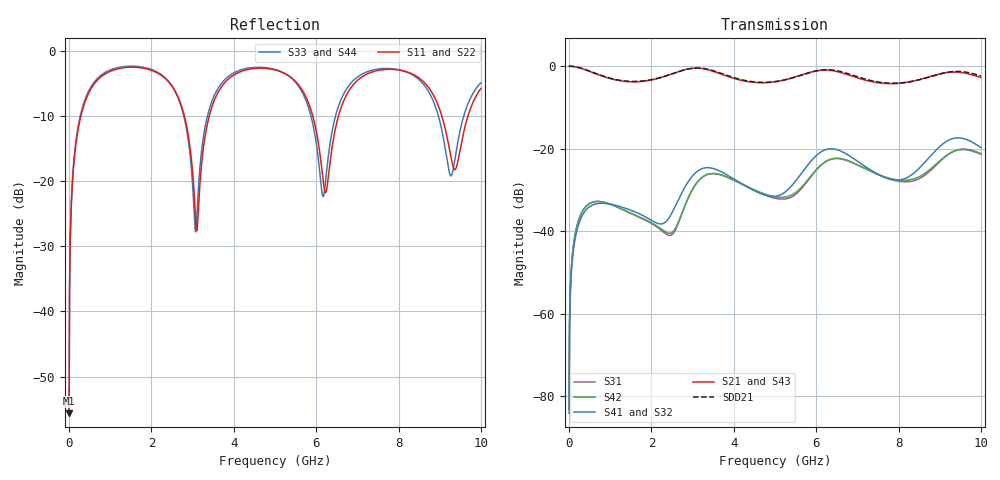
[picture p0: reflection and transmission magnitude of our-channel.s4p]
! Created with skrf 2.0.1 (http://scikit-rf.org).
# Hz S RI R 50.0
!freq ReS11 ImS11 ReS12 ImS12 ReS13 ImS13
! ReS14 ImS14
! ReS21 ImS21 ReS22 ImS22 ReS23 ImS23
! ReS24 ImS24
! ReS31 ImS31 ReS32 ImS32 ReS33 ImS33
! ReS34 ImS34
! ReS41 ImS41 ReS42 ImS42 ReS43 ImS43
! ReS44 ImS44
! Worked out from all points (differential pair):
!   1001 points, 1 MHz to 10 GHz, reference 50 ohm
!   strongest paths, dB at 1 MHz, 2.501 GHz, 5 GHz, 7.5 GHz, 10 GHz:
!     S21: 0.0, -1.9, -3.8, -4.0, -2.7
!     S43: 0.0, -1.9, -3.9, -4.3, -3.1
!     S41: -84.1, -35.5, -31.5, -26.2, -19.7
!     S32: -84.1, -35.5, -31.8, -26.5, -19.9
!     S42: -83.1, -40.3, -31.6, -26.2, -21.4
!     S31: -83.1, -40.8, -32.0, -26.3, -21.2
!   taken as a pair (ports 1,3 in; 2,4 out), SDD21 dB: 0.0, -1.9, -3.7, -3.8, -2.4
!   lowest |S11| = -55.6 dB at 1 MHz (marker M1), VSWR 1.00, Z = 50.1 + j0.125 ohm
!   |S11| at or under -10 dB: 2.798 GHz to 3.404 GHz (606 MHz wide, 19.5 % of centre); 5.917 GHz to 6.543 GHz (626 MHz wide, 10 % of centre); 9.051 GHz to 9.687 GHz (636.2 MHz wide, 6.79 % of centre)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
1000000  0.00108 0.00125  0.9989 -0.00168  2.37e-06 7.01e-05  -2.33e-06 -6.25e-05
         0.9989 -0.00168  0.00108 0.00125  -2.33e-06 -6.25e-05  2.37e-06 7.01e-05
         2.37e-06 7.01e-05  -2.33e-06 -6.25e-05  0.00108 0.00131  0.9989 -0.00173
         -2.33e-06 -6.25e-05  2.37e-06 7.01e-05  0.9989 -0.00173  0.00108 0.00131
1.90981e8  0.068 0.2086  0.9276 -0.2859  0.00562 0.0101  -0.0055 -0.00868
           0.9276 -0.2859  0.0682 0.2085  -0.0055 -0.00867  0.00563 0.0101
           0.00562 0.0101  -0.0055 -0.00867  0.0732 0.2183  0.9227 -0.2938
           -0.0055 -0.00868  0.00563 0.0101  0.9227 -0.2938  0.0731 0.2183
8.90911e8  0.6005 0.2938  0.3224 -0.6573  0.0219 -0.00344  -0.0196 0.00931
           0.3224 -0.6573  0.6017 0.2912  -0.0196 0.0093  0.0219 -0.00356
           0.0219 -0.00344  -0.0196 0.0093  0.6219 0.2902  0.305 -0.6478
           -0.0196 0.00931  0.0219 -0.00356  0.305 -0.6478  0.6215 0.2912
3.030697e9  0.0453 -0.0741  -0.9431 -0.0487  -0.00223 0.0343  -0.00168 0.0489
            -0.9431 -0.0487  0.0426 -0.0747  -0.00246 0.0489  -0.00263 0.0342
            -0.00223 0.0343  -0.00246 0.0489  0.041 -0.0476  -0.945 -0.0134
            -0.00168 0.0489  -0.00263 0.0342  -0.945 -0.0134  0.0434 -0.0474
4.410559e9  0.7212 0.0723  -0.0607 0.6385  0.0195 -0.0263  0.0274 -0.018
            -0.0607 0.6385  0.7221 0.0578  0.027 -0.0167  0.0195 -0.0269
            0.0195 -0.0263  0.027 -0.0167  0.7395 0.0449  -0.0416 0.6224
            0.0274 -0.018  0.0195 -0.0269  -0.0416 0.6224  0.7392 0.0496
6.150385e9  0.082 -0.08  0.8951 0.00649  0.00105 0.0654  -0.00413 -0.0934
            0.8951 0.00649  0.0732 -0.0815  -0.00119 -0.0941  -0.000318 0.0654
            0.00105 0.0654  -0.00119 -0.0941  0.074 -0.027  0.8938 -0.063
            -0.00413 -0.0934  -0.000318 0.0654  0.8938 -0.063  0.0822 -0.0271
1e10  0.4601 0.2276  -0.4145 0.6019  0.0841 -0.0231  0.1026 0.0113
      -0.4145 0.6019  0.4641 0.2153  0.0997 0.0161  0.0825 -0.0226
      0.0841 -0.0231  0.0997 0.0161  0.5267 0.2119  -0.3389 0.6092
      0.1026 0.0113  0.0825 -0.0226  -0.3389 0.6092  0.5304 0.2076
